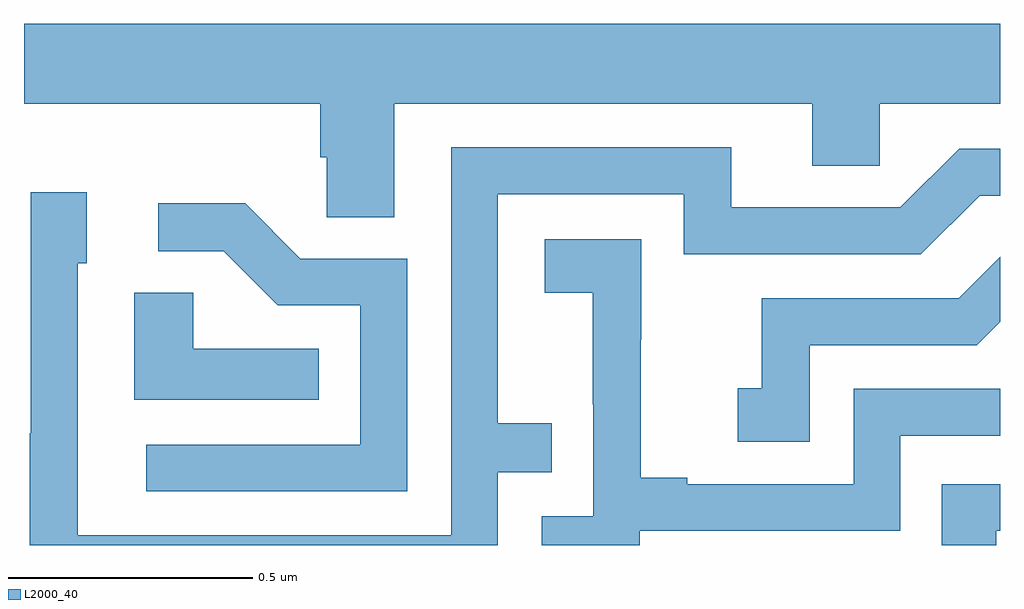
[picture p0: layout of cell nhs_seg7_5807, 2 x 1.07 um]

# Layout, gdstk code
import gdstk
lib = gdstk.Library(unit=1e-6, precision=1e-09)
def P(c, l, *ps):  # polygons
    for p in ps: c.add(gdstk.Polygon(p, *l))
L2000_40 = (2000, 40)

nhs_seg7_5807 = lib.new_cell('nhs_seg7_5807')
P(nhs_seg7_5807, L2000_40, [(190.759,1045.904),(191.615,1045.904),(191.615,1045.777),(191.754,1045.777),(191.754,1045.904),(192,1045.904),(192,1046.068),(190,1046.068),(190,1045.904),(190.607,1045.904),(190.607,1045.795),(190.62,1045.795),(190.62,1045.672),(190.759,1045.672)],
  [(190.971,1045.149),(191.081,1045.149),(191.081,1045.25),(190.971,1045.25),(190.971,1045.719),(191.352,1045.719),(191.352,1045.596),(191.838,1045.596),(191.958,1045.716),(192,1045.716),(192,1045.812),(191.916,1045.812),(191.796,1045.692),(191.449,1045.692),(191.449,1045.815),(190.875,1045.815),(190.875,1045.02),(190.11,1045.02),(190.11,1045.578),(190.129,1045.578),(190.129,1045.723),(190.014,1045.723),(190.014,1045.229),(190.012,1045.229),(190.012,1045),(190.971,1045)],
  [(190.785,1045.587),(190.566,1045.587),(190.453,1045.7),(190.275,1045.7),(190.275,1045.602),(190.409,1045.602),(190.52,1045.491),(190.689,1045.491),(190.689,1045.206),(190.251,1045.206),(190.251,1045.11),(190.785,1045.11)],
  [(191.262,1045.029),(191.796,1045.029),(191.796,1045.224),(192,1045.224),(192,1045.32),(191.7,1045.32),(191.7,1045.125),(191.359,1045.125),(191.359,1045.138),(191.264,1045.138),(191.264,1045.421),(191.265,1045.421),(191.265,1045.627),(191.067,1045.627),(191.067,1045.517),(191.165,1045.517),(191.165,1045.289),(191.166,1045.289),(191.166,1045.059),(191.061,1045.059),(191.061,1045),(191.262,1045)],
  [(191.61,1045.41),(191.952,1045.41),(192,1045.458),(192,1045.591),(191.915,1045.506),(191.512,1045.506),(191.512,1045.321),(191.463,1045.321),(191.463,1045.212),(191.61,1045.212)],
  [(190.604,1045.402),(190.347,1045.402),(190.347,1045.517),(190.226,1045.517),(190.226,1045.298),(190.604,1045.298)],
  [(191.992,1045.029),(192,1045.029),(192,1045.125),(191.881,1045.125),(191.881,1045),(191.992,1045)])

lib.write_gds('nhs_seg7_5807.gds')
